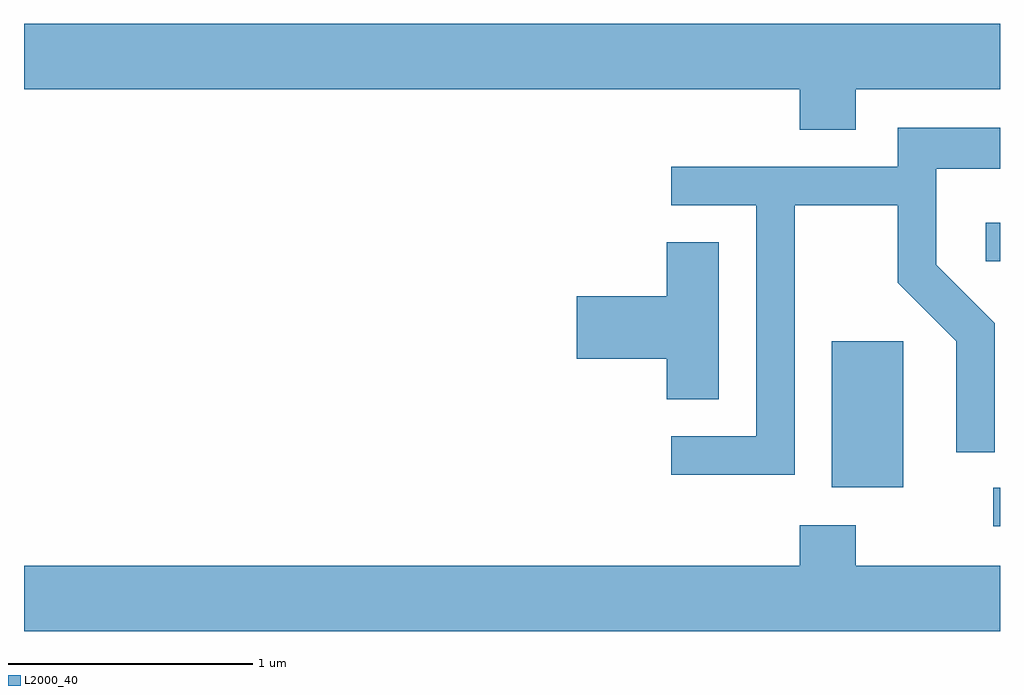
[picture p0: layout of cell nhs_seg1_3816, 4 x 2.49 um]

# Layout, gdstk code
import gdstk
lib = gdstk.Library(unit=1e-6, precision=1e-09)
def R(c, l, rs):  # rectangles x0, y0, x1, y1
    for r in rs: c.add(gdstk.rectangle(r[:2], r[2:], *l))
def P(c, l, *ps):  # polygons
    for p in ps: c.add(gdstk.Polygon(p, *l))
L2000_40 = (2000, 40)

nhs_seg1_3816 = lib.new_cell('nhs_seg1_3816')
R(nhs_seg1_3816, L2000_40, [(303.583,931.086,303.611,931.244), (302.921,931.246,303.214,931.844), (303.553,932.171,303.611,932.329)])
P(nhs_seg1_3816, L2000_40, [(303.019,932.876),(303.611,932.876),(303.611,933.144),(299.611,933.144),(299.611,932.876),(302.791,932.876),(302.791,932.711),(303.019,932.711)],
  [(302.769,932.401),(303.191,932.401),(303.191,932.084),(303.431,931.844),(303.431,931.388),(303.589,931.388),(303.589,931.917),(303.349,932.157),(303.349,932.551),(303.611,932.551),(303.611,932.719),(303.191,932.719),(303.191,932.559),(302.263,932.559),(302.263,932.401),(302.611,932.401),(302.611,931.454),(302.263,931.454),(302.263,931.296),(302.769,931.296)],
  [(302.459,932.249),(302.246,932.249),(302.246,932.029),(301.876,932.029),(301.876,931.771),(302.246,931.771),(302.246,931.606),(302.459,931.606)],
  [(303.611,930.924),(303.019,930.924),(303.019,931.089),(302.791,931.089),(302.791,930.924),(299.611,930.924),(299.611,930.656),(303.611,930.656)])

lib.write_gds('nhs_seg1_3816.gds')
